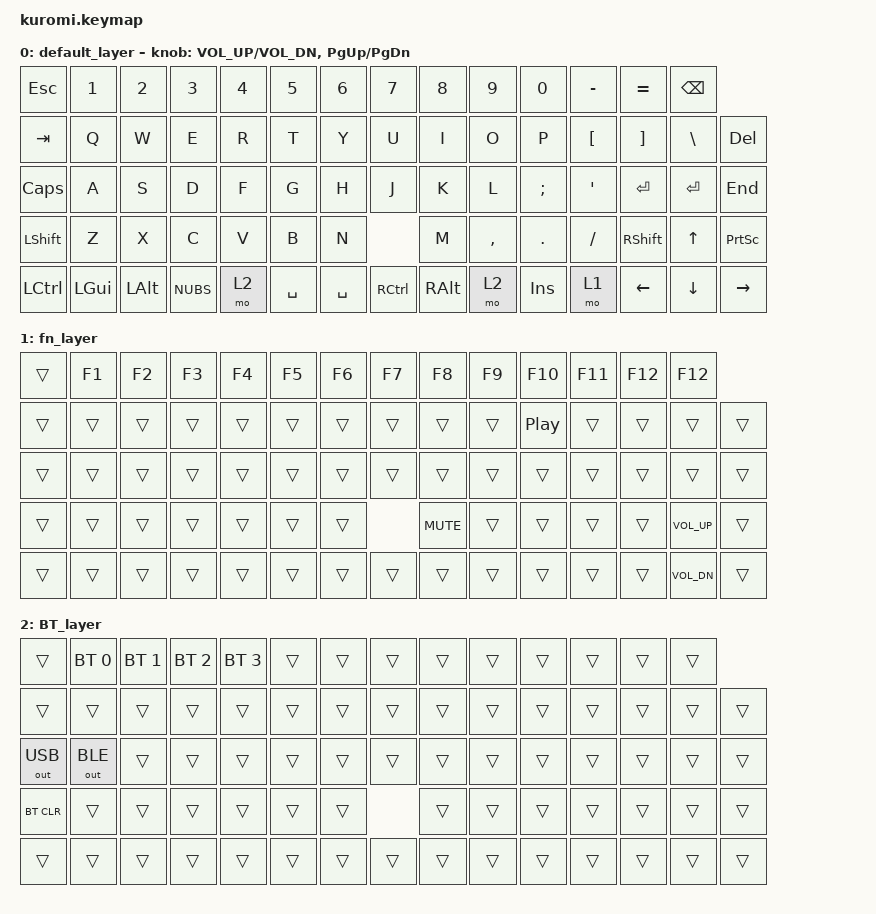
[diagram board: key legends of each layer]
/*
 * Copyright (c) 2022 The ZMK Contributors
 *
 * SPDX-License-Identifier: MIT
 */

#define ZMK_POINTING_DEFAULT_MOVE_VAL 1500


#include <behaviors.dtsi>
#include <dt-bindings/zmk/keys.h>
#include <dt-bindings/zmk/bt.h>
#include <dt-bindings/zmk/outputs.h>
#include <dt-bindings/zmk/pointing.h>

/ {
    keymap {
        compatible = "zmk,keymap";

        default_layer {
            bindings = <
                &kp ESC     &kp N1      &kp N2      &kp N3      &kp N4      &kp N5               &kp N6            &kp N7   &kp N8       &kp N9       &kp N0      &kp MINUS  &kp EQUAL         &kp BSPC        
                &kp TAB     &kp Q       &kp W       &kp E       &kp R       &kp T                &kp Y             &kp U    &kp I        &kp O        &kp P       &kp LBKT   &kp RBKT     &kp BSLH   &kp DEL
                &kp CAPS    &kp A       &kp S       &kp D       &kp F       &kp G                &kp H             &kp J    &kp K        &kp L        &kp SEMI    &kp SQT    &kp ENTER    &kp ENTER  &kp END
                &kp LSHFT   &kp Z       &kp X       &kp C       &kp V       &kp B                &kp N             &kp M    &kp COMMA    &kp DOT      &kp SLASH         &kp RSHFT         &kp UP     &kp PSCRN  
                &kp LCTRL   &kp LGUI    &kp LALT       &kp NUBS       &mo 2   &kp SPACE        &kp SPACE     &kp RCTRL    &kp RALT     &mo 2        &kp INS       &mo 1      &kp LEFT     &kp DOWN   &kp RIGHT
            >;

             sensor-bindings = <&inc_dec_kp C_VOL_UP C_VOL_DN &inc_dec_kp PG_UP PG_DN>;
        };

        fn_layer {
            bindings = <
                &trans     &kp F1   &kp F2    &kp F3    &kp F4    &kp F5            &kp F6     &kp F7     &kp F8     &kp F9     &kp F10      &kp F11     &kp F12          &kp F12        
                &trans     &trans   &trans    &trans    &trans    &trans            &trans     &trans     &trans     &trans     &kp C_PP       &trans      &trans       &trans  &trans
                &trans     &trans   &trans    &trans    &trans    &trans            &trans     &trans     &trans     &trans     &trans       &trans      &trans       &trans  &trans
                &trans     &trans   &trans    &trans    &trans    &trans            &trans     &kp C_MUTE     &trans     &trans             &trans           &trans       &kp C_VOL_UP  &trans   
                &trans     &trans   &trans    &trans    &trans    &trans            &trans     &trans     &trans     &trans     &trans       &trans      &trans       &kp C_VOL_DN  &trans 
            >;
        };

        BT_layer {
            bindings = <
                &trans        &bt BT_SEL 0   &bt BT_SEL 1   &bt BT_SEL 2   &bt BT_SEL 3   &trans         &trans   &trans   &trans   &trans   &trans   &trans   &trans        &trans        
                &trans        &trans         &trans         &trans         &trans         &trans         &trans   &trans   &trans   &trans   &trans   &trans   &trans   &trans     &trans
                &out OUT_USB  &out OUT_BLE   &trans         &trans         &trans         &trans         &trans   &trans   &trans   &trans   &trans   &trans   &trans   &trans     &trans
                &bt BT_CLR    &trans         &trans         &trans         &trans         &trans         &trans   &trans   &trans   &trans   &trans         &trans      &trans     &trans  
                &trans        &trans         &trans         &trans         &trans         &trans         &trans   &trans   &trans   &trans   &trans   &trans   &trans   &trans     &trans
            >;
        };
    };
};

